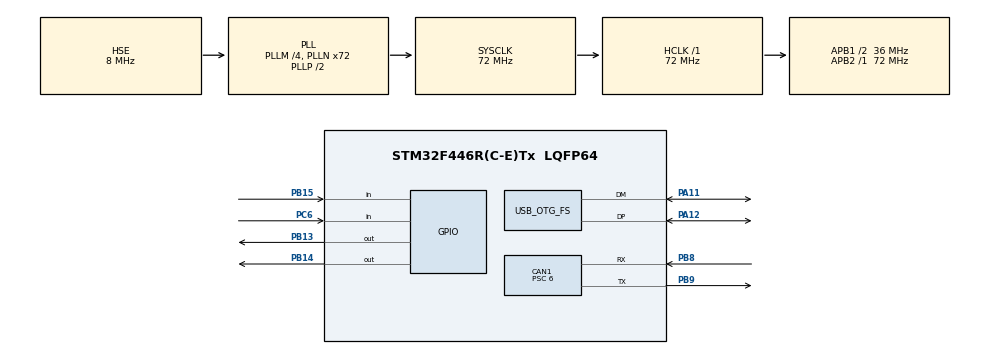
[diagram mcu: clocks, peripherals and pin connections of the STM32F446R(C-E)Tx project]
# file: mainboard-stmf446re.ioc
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CAN1.BS1=CAN_BS1_16TQ
CAN1.BS2=CAN_BS2_7TQ
CAN1.CalculateBaudRate=249999
CAN1.CalculateTimeBit=4000
CAN1.CalculateTimeQuantum=166.66666666666669
CAN1.Prescaler=6
Mcu.Family=STM32F4
Mcu.Name=STM32F446R(C-E)Tx
Mcu.Package=LQFP64
NVIC.CAN1_RX0_IRQn=true\:0\:0\:false\:false\:true\:true\:true\:true
NVIC.OTG_FS_IRQn=true\:0\:0\:false\:false\:true\:false\:true\:true
NVIC.PriorityGroup=NVIC_PRIORITYGROUP_4
PA11.Mode=Device_Only
PA11.Signal=USB_OTG_FS_DM
PA12.Mode=Device_Only
PA12.Signal=USB_OTG_FS_DP
PA13.Mode=Serial_Wire
PA13.Signal=SYS_JTMS-SWDIO
PA14.Mode=Serial_Wire
PA14.Signal=SYS_JTCK-SWCLK
PB13.Signal=GPIO_Output
PB14.Signal=GPIO_Output
PB15.Signal=GPIO_Input
PB8.Mode=CAN_Activate
PB8.Signal=CAN1_RX
PB9.Mode=CAN_Activate
PB9.Signal=CAN1_TX
PC6.Signal=GPIO_Input
PH0-OSC_IN.Mode=HSE-External-Oscillator
PH0-OSC_IN.Signal=RCC_OSC_IN
PH1-OSC_OUT.Mode=HSE-External-Oscillator
PH1-OSC_OUT.Signal=RCC_OSC_OUT
ProjectManager.HeapSize=0x200
ProjectManager.StackSize=0x400
ProjectManager.TargetToolchain=CMake
RCC.AHBFreq_Value=72000000
RCC.APB1CLKDivider=RCC_HCLK_DIV2
RCC.APB1Freq_Value=36000000
RCC.APB1TimFreq_Value=72000000
RCC.APB2Freq_Value=72000000
RCC.APB2TimFreq_Value=72000000
RCC.CortexFreq_Value=72000000
RCC.HCLKFreq_Value=72000000
RCC.HSE_VALUE=8000000
RCC.PLLM=4
RCC.PLLN=72
RCC.PLLQ=3
RCC.SYSCLKFreq_VALUE=72000000
RCC.SYSCLKSource=RCC_SYSCLKSOURCE_PLLCLK
RCC.USBFreq_Value=48000000
RCC.VCOOutputFreq_Value=144000000
USB_DEVICE.CLASS_NAME_FS=HID
USB_DEVICE.MANUFACTURER_STRING-HID_FS=TeamSKBD
USB_DEVICE.PRODUCT_STRING_HID_FS=MSKBD Mainboard
USB_DEVICE.VID-HID_FS=0xCAFE
USB_DEVICE.VirtualMode-HID_FS=Hid
USB_DEVICE.VirtualModeFS=Hid_FS
USB_OTG_FS.VirtualMode=Device_Only
VP_USB_DEVICE_VS_USB_DEVICE_HID_FS.Mode=HID_FS
board=custom

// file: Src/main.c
/* USER CODE BEGIN Header */
/**
  ******************************************************************************
  * @file           : main.c
  * @brief          : Main program body
  ******************************************************************************
  * @attention
  *
  * Copyright (c) 2025 STMicroelectronics.
  * All rights reserved.
  *
  * This software is licensed under terms that can be found in the LICENSE file
  * in the root directory of this software component.
  * If no LICENSE file comes with this software, it is provided AS-IS.
  *
  ******************************************************************************
  */
/* USER CODE END Header */
#include "main.h"
#include "can.h"
#include "usb_device.h"
#include "mainboard_usb.h"
#include "gpio.h"

/* USER CODE BEGIN PTD */
typedef struct{
  uint8_t MODIFIER;
  uint8_t RESERVED;
  uint8_t KEYPRESS[14];
} USBHIDReportNKRO;

typedef struct {
	uint8_t MODIFIER;
	uint8_t RESERVED;
	uint8_t KEYCODE1;
	uint8_t KEYCODE2;
	uint8_t KEYCODE3;
	uint8_t KEYCODE4;
	uint8_t KEYCODE5;
	uint8_t KEYCODE6;
}USBHIDReport6KRO;

USBHIDReport6KRO USBREPORT = {0,0,0,0,0,0,0,0};

typedef struct{
  GPIO_TypeDef* PORT;
  uint16_t PIN;
} KbdPins;

extern USBD_HandleTypeDef hUsbDeviceFS;
/* USER CODE END PTD */

/* USER CODE BEGIN PD */
#define ROWS 2
#define COLS 2
/* USER CODE END PD */

/* USER CODE BEGIN PV */

//Keymap
uint8_t matrix[ROWS][COLS] = {
  {KEY_M, KEY_K},
  {KEY_I, KEY_U}
};

//Pins For the column {PORT, PIN}
KbdPins row_pins[ROWS] = {
  {GPIOC, GPIO_PIN_6},
  {GPIOB, GPIO_PIN_15}
};
KbdPins col_pins[COLS] = {
  {GPIOB, GPIO_PIN_14},
  {GPIOB, GPIO_PIN_13}
};

//Report - This what get sent to the USB
USBHIDReportNKRO REPORT = {0};

CAN_RxHeaderTypeDef RxHeader;
uint8_t RxData[8];
/* USER CODE END PV */

void SystemClock_Config(void);
/* USER CODE BEGIN PFP */
void addHIDReport(uint8_t usageID, uint8_t isPressed);
/* USER CODE END PFP */

int main(void)
{

  /* MCU Configuration--------------------------------------------------------*/

  /* Reset of all peripherals, Initializes the Flash interface and the Systick. */
  HAL_Init();

  /* Configure the system clock */

  SystemClock_Config();
  HAL_Delay(50); // Wait for clock to stabilize.

  /* Initialize all configured peripherals */
  MX_GPIO_Init();
  MX_CAN1_Init();
  MX_USB_DEVICE_Init();

  /* Force software re-enumeration */
  USBD_Stop(&hUsbDeviceFS);
  HAL_Delay(150);
  USBD_Start(&hUsbDeviceFS);

  while (1)
  {
    //TODO: FIX ME
    //Keycode Scan
    // Clear keypresses at the start of each scan for 6 key rollover
    /* USER CODE END WHILE */
    // for(int col = 0; col < COLS; col++){
    //   HAL_GPIO_WritePin(col_pins[col].PORT, col_pins[col].PIN, GPIO_PIN_SET);
    //   HAL_Delay(1);
    //   for(int row = 0; row < ROWS; row++){
    //     if(HAL_GPIO_ReadPin(row_pins[row].PORT, row_pins[row].PIN)){
    //       addHIDReport(matrix[row][col], 1);
    //     }
    //   }
    //   HAL_GPIO_WritePin(col_pins[col].PORT, col_pins[col].PIN, GPIO_PIN_RESET);
    // } for(int col = 0; col < COLS; col++){
    //   HAL_GPIO_WritePin(col_pins[col].PORT, col_pins[col].PIN, GPIO_PIN_SET);
    //   HAL_Delay(1);
    //   for(int row = 0; row < ROWS; row++){
    //     if(HAL_GPIO_ReadPin(row_pins[row].PORT, row_pins[row].PIN)){
    //       addHIDReport(matrix[row][col], 1);
    //     }
    //   }
    //   HAL_GPIO_WritePin(col_pins[col].PORT, col_pins[col].PIN, GPIO_PIN_RESET);
    // }
    USBREPORT.KEYCODE1 = 0x0A;
    USBD_HID_SendReport(&hUsbDeviceFS, (uint8_t*)&USBREPORT, sizeof(USBREPORT));
    HAL_Delay(100);
  }
}

void HAL_CAN_RxFifo0MsgPendingCallback(CAN_HandleTypeDef *hcan)
{
  HAL_CAN_GetRxMessage(hcan, CAN_RX_FIFO0, &RxHeader, RxData);
  addHIDReport(RxData[0], (RxData[1] & 0x01) ? 1 : 0);
}
void SystemClock_Config(void)
{
  RCC_OscInitTypeDef RCC_OscInitStruct = {0};
  RCC_ClkInitTypeDef RCC_ClkInitStruct = {0};

  /** Configure the main internal regulator output voltage
  */
  __HAL_RCC_PWR_CLK_ENABLE();
  __HAL_PWR_VOLTAGESCALING_CONFIG(PWR_REGULATOR_VOLTAGE_SCALE3);

  /** Initializes the RCC Oscillators according to the specified parameters
  * in the RCC_OscInitTypeDef structure.
  */
  RCC_OscInitStruct.OscillatorType = RCC_OSCILLATORTYPE_HSE;
  RCC_OscInitStruct.HSEState = RCC_HSE_ON;
  RCC_OscInitStruct.PLL.PLLState = RCC_PLL_ON;
  RCC_OscInitStruct.PLL.PLLSource = RCC_PLLSOURCE_HSE;
  RCC_OscInitStruct.PLL.PLLM = 4;
  RCC_OscInitStruct.PLL.PLLN = 72;
  RCC_OscInitStruct.PLL.PLLP = RCC_PLLP_DIV2;
  RCC_OscInitStruct.PLL.PLLQ = 3;
  RCC_OscInitStruct.PLL.PLLR = 2;
  if (HAL_RCC_OscConfig(&RCC_OscInitStruct) != HAL_OK)
  {
    Error_Handler();
  }

  /** Initializes the CPU, AHB and APB buses clocks
  */
  RCC_ClkInitStruct.ClockType = RCC_CLOCKTYPE_HCLK|RCC_CLOCKTYPE_SYSCLK
                              |RCC_CLOCKTYPE_PCLK1|RCC_CLOCKTYPE_PCLK2;
  RCC_ClkInitStruct.SYSCLKSource = RCC_SYSCLKSOURCE_PLLCLK;
  RCC_ClkInitStruct.AHBCLKDivider = RCC_SYSCLK_DIV1;
  RCC_ClkInitStruct.APB1CLKDivider = RCC_HCLK_DIV2;
  RCC_ClkInitStruct.APB2CLKDivider = RCC_HCLK_DIV1;

  if (HAL_RCC_ClockConfig(&RCC_ClkInitStruct, FLASH_LATENCY_2) != HAL_OK)
  {
    Error_Handler();
  }
}

/* USER CODE BEGIN 4 */
//Converts UsageID to NKRO bit field and add it to the report
void addHIDReport(uint8_t usageID, uint8_t isPressed){
  if(usageID < 0x04 || usageID > 0x73) return; //Usage ID is out of bounds
  uint16_t bit_index = usageID - 0x04; //Offset, UsageID starts with 0x04. Gives us the actual value of the bit
  uint8_t byte_index = bit_index/8;    //Calculates which byte in the REPORT array
  uint8_t bit_offset = bit_index%8;    //Calculates which bits in the REPORT[byte_index] should be set/unset

  if(isPressed){
    REPORT.KEYPRESS[byte_index] |= (1 << bit_offset);
  }else{
    REPORT.KEYPRESS[byte_index] &= ~(1 << bit_offset);
  }
}

// 6 KEY ROLLOVER CODE STRUCTURE
/*
if (usageID < 0x04 || usageID > 0x73) return;

    int i, empty = -1;
    if (isPressed) {
        for (i = 0; i < 6; i++) {
            if (REPORT.KEYPRESS[i] == usageID) return; // Already present
            if (REPORT.KEYPRESS[i] == 0 && empty == -1) empty = i;
        }
        if (empty != -1) {
            REPORT.KEYPRESS[empty] = usageID;
        }
        // If no empty slot, ignore (6KRO: only 6 keys allowed)
    } else {
        // Remove from the array when released
        for (i = 0; i < 6; i++) {
            if (REPORT.KEYPRESS[i] == usageID) {
                REPORT.KEYPRESS[i] = 0;
            }
        }
    }
*/

/* USER CODE END 4 */

void Error_Handler(void)
{
  __disable_irq();
  while (1)
  {
  }
}
